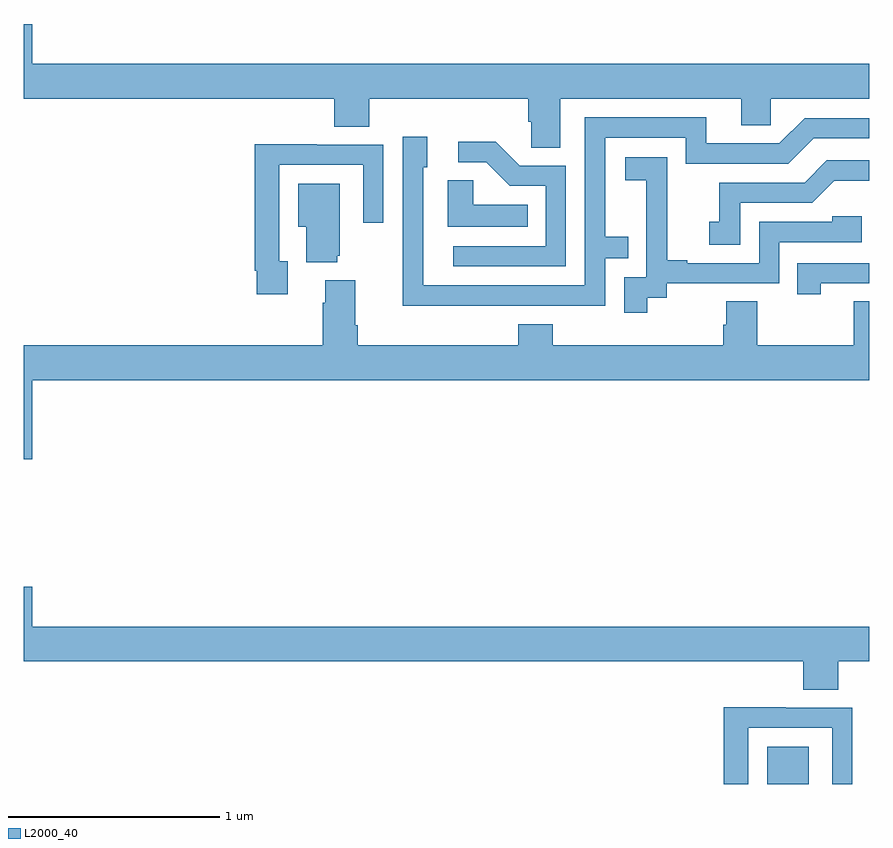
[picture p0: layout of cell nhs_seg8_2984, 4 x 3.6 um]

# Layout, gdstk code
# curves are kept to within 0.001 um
import gdstk
lib = gdstk.Library(unit=1e-6, precision=1e-09)
def R(c, l, rs):  # rectangles x0, y0, x1, y1
    for r in rs: c.add(gdstk.rectangle(r[:2], r[2:], *l))
def P(c, l, *ps):  # polygons
    for p in ps: c.add(gdstk.Polygon(p, *l))
L2000_40 = (2000, 40)

nhs_seg8_2984 = lib.new_cell('nhs_seg8_2984')
R(nhs_seg8_2984, L2000_40, [(300.518,1135.9,300.715,1136.077)])
P(nhs_seg8_2984, L2000_40, [(299.539,1139.144),(300.395,1139.144),(300.395,1139.017),(300.534,1139.017),(300.534,1139.144),(301,1139.144),(301,1139.308),(297.04,1139.308),(297.04,1139.497),(297,1139.497),(297,1139.144),(298.469,1139.144),(298.469,1139.011),(298.634,1139.011),(298.634,1139.144),(299.387,1139.144),(299.387,1139.035),(299.4,1139.035),(299.4,1138.912),(299.539,1138.912)],
  [(299.255,1138.164),(299.751,1138.164),(299.751,1138.389),(299.861,1138.389),(299.861,1138.49),(299.751,1138.49),(299.751,1138.959),(300.132,1138.959),(300.132,1138.836),(300.618,1138.836),(300.738,1138.956),(301,1138.956),(301,1139.052),(300.696,1139.052),(300.576,1138.932),(300.229,1138.932),(300.229,1139.055),(299.655,1139.055),(299.655,1138.26),(298.89,1138.26),(298.89,1138.818),(298.909,1138.818),(298.909,1138.963),(298.794,1138.963),(298.794,1138.469),(298.792,1138.469),(298.792,1138.163)],
  [(299.565,1138.827),(299.346,1138.827),(299.233,1138.94),(299.055,1138.94),(299.055,1138.842),(299.189,1138.842),(299.3,1138.731),(299.469,1138.731),(299.469,1138.446),(299.031,1138.446),(299.031,1138.35),(299.565,1138.35)],
  [(298.249,1138.374),(298.209,1138.374),(298.209,1138.83),(298.605,1138.83),(298.605,1138.557),(298.701,1138.557),(298.701,1138.926),(298.385,1138.926),(298.385,1138.928),(298.093,1138.928),(298.093,1138.33),(298.101,1138.33),(298.101,1138.218),(298.249,1138.218)],
  [(299.95,1138.201),(300.042,1138.201),(300.042,1138.269),(300.576,1138.269),(300.576,1138.464),(300.965,1138.464),(300.965,1138.587),(300.825,1138.587),(300.825,1138.56),(300.48,1138.56),(300.48,1138.365),(300.139,1138.365),(300.139,1138.378),(300.044,1138.378),(300.044,1138.661),(300.045,1138.661),(300.045,1138.867),(299.847,1138.867),(299.847,1138.757),(299.945,1138.757),(299.945,1138.529),(299.946,1138.529),(299.946,1138.299),(299.841,1138.299),(299.841,1138.131),(299.95,1138.131)],
  [(300.39,1138.65),(300.732,1138.65),(300.836,1138.754),(301,1138.754),(301,1138.851),(300.8,1138.851),(300.695,1138.746),(300.292,1138.746),(300.292,1138.561),(300.243,1138.561),(300.243,1138.452),(300.39,1138.452)],
  [(299.384,1138.642),(299.127,1138.642),(299.127,1138.757),(299.006,1138.757),(299.006,1138.538),(299.384,1138.538)],
  [(298.484,1138.401),(298.495,1138.401),(298.495,1138.741),(298.298,1138.741),(298.298,1138.538),(298.337,1138.538),(298.337,1138.37),(298.484,1138.37)],
  [(300.772,1138.269),(301,1138.269),(301,1138.365),(300.661,1138.365),(300.661,1138.218),(300.772,1138.218)],
  [(297.04,1137.812),(301,1137.812),(301,1138.184),(300.928,1138.184),(300.928,1137.976),(300.471,1137.976),(300.471,1138.184),(300.323,1138.184),(300.323,1138.074),(300.311,1138.074),(300.311,1137.976),(299.504,1137.976),(299.504,1138.075),(299.339,1138.075),(299.339,1137.976),(298.58,1137.976),(298.58,1138.072),(298.567,1138.072),(298.567,1138.285),(298.427,1138.285),(298.427,1138.178),(298.415,1138.178),(298.415,1137.976),(297,1137.976),(297,1137.438),(297.04,1137.438)],
  [(300.854,1136.48),(301,1136.48),(301,1136.644),(297.04,1136.644),(297.04,1136.833),(297,1136.833),(297,1136.48),(300.689,1136.48),(300.689,1136.347),(300.854,1136.347)],
  [(300.429,1136.166),(300.825,1136.166),(300.825,1135.9),(300.921,1135.9),(300.921,1136.262),(300.605,1136.262),(300.605,1136.264),(300.313,1136.264),(300.313,1135.9),(300.429,1135.9)])

lib.write_gds('nhs_seg8_2984.gds')
